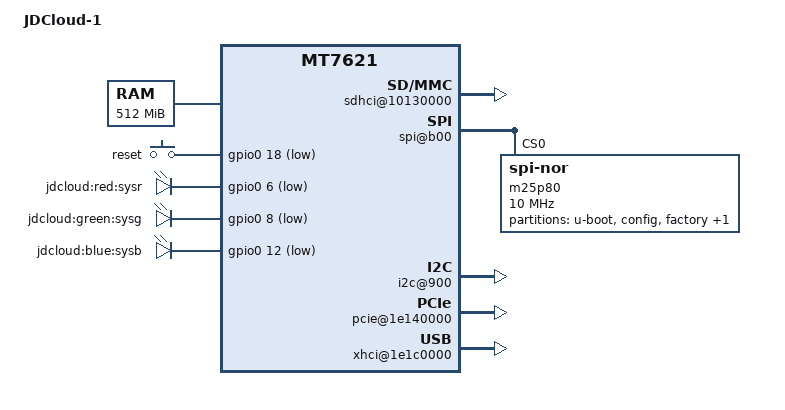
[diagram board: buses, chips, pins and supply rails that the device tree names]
/dts-v1/;

/include/ "mt7621.dtsi"

/ {
	compatible = "jdcloud-1", "mediatek,mt7621-soc";
	model = "JDCloud-1";

	memory@0 {
		device_type = "memory";
		reg = <0x0 0x1c000000>, <0x20000000 0x4000000>;
	};

	chosen {
		bootargs = "console=ttyS0,115200";
	};

	sdhci@10130000 {
		status = "okay";
	};

	palmbus@1E000000 {
		spi@b00 {
			status = "okay";

			m25p80@0 {
				#address-cells = <1>;
				#size-cells = <1>;
				compatible = "jedec,spi-nor";
				reg = <0 0>;
				spi-max-frequency = <10000000>;

				partition@0 {
					label = "u-boot";
					reg = <0x0 0x30000>;
				};

				partition@30000 {
					label = "config";
					reg = <0x30000 0x10000>;
				};

				factory: partition@40000 {
					label = "factory";
					reg = <0x40000 0x10000>;
				};


				partition@50000 {
					label = "firmware";
					reg = <0x50000 0x1fb0000>;
				};

			};
		};

		i2c@900 {
			compatible = "ralink,i2c-mt7621";
			reg = <0x900 0x100>;
			#address-cells = <1>;
			#size-cells = <0>;
			pinctrl-names = "default";
			pinctrl-0 = <&i2c_pins>;
			status = "okay";
		};
	};

	pcie@1e140000 {
		status = "okay";

		pcie0 {
			mt76@0,0 {
				reg = <0x0000 0 0 0 0>;
				device_type = "pci";
				mediatek,mtd-eeprom = <&factory 0x0000>;
				mediatek,2ghz = <0>;
			};
		};

		pcie1 {
			mt76@1,0 {
				reg = <0x0000 0 0 0 0>;
				device_type = "pci";
				mediatek,mtd-eeprom = <&factory 0x8000>;
				mediatek,5ghz = <0>;
			};
		};
	};

	ethernet@1e100000 {
		mtd-mac-address = <&factory 0x4>;
	};

	xhci@1e1c0000 {
		status = "okay";
	};

	gpio-keys-polled {
		compatible = "gpio-keys-polled";
		#address-cells = <1>;
		#size-cells = <0>;
		poll-interval = <20>;

		reset {
			label = "reset";
			gpios = <&gpio0 18 1>;
			linux,code = <0x198>;
		};
	};

	gpio-leds {
		compatible = "gpio-leds";

		sysr {
			label = "jdcloud:red:sysr";
			gpios = <&gpio0 6 1>;
		};

		sysg {
			label = "jdcloud:green:sysg";
			gpios = <&gpio0 8 1>;
		};

		sysb {
			label = "jdcloud:blue:sysb";
			gpios = <&gpio0 12 1>;
		};

	};


	pinctrl {
		state_default: pinctrl0 {
			gpio {
				ralink,group = "uart2", "uart3", "wdt";
				ralink,function = "gpio";
			};
		};
	};
};
